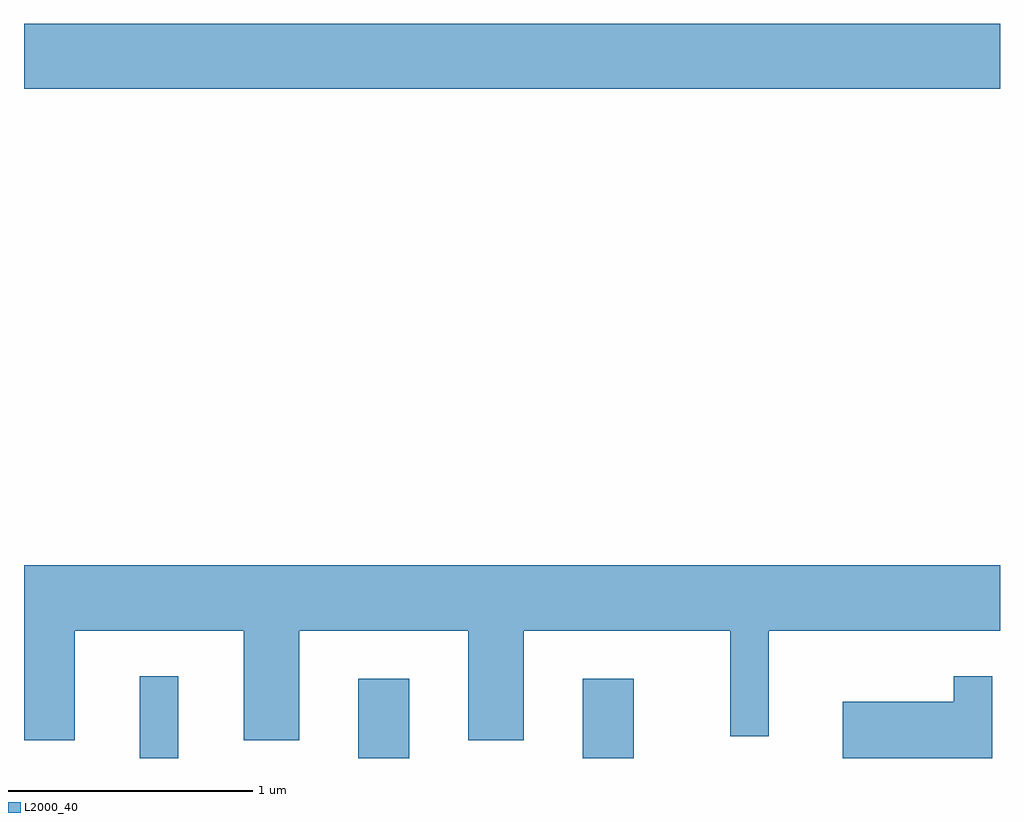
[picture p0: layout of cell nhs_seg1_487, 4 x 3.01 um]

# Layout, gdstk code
import gdstk
lib = gdstk.Library(unit=1e-6, precision=1e-09)
def R(c, l, rs):  # rectangles x0, y0, x1, y1
    for r in rs: c.add(gdstk.rectangle(r[:2], r[2:], *l))
def P(c, l, *ps):  # polygons
    for p in ps: c.add(gdstk.Polygon(p, *l))
L2000_40 = (2000, 40)

nhs_seg1_487 = lib.new_cell('nhs_seg1_487')
R(nhs_seg1_487, L2000_40, [(200.086,905.712,200.244,906.048), (200.981,905.712,201.189,906.039), (201.901,905.712,202.109,906.039), (199.611,908.456,203.611,908.724)])
P(nhs_seg1_487, L2000_40, [(199.819,906.236),(200.511,906.236),(200.511,905.786),(200.739,905.786),(200.739,906.236),(201.431,906.236),(201.431,905.786),(201.659,905.786),(201.659,906.236),(202.506,906.236),(202.506,905.803),(202.664,905.803),(202.664,906.236),(203.611,906.236),(203.611,906.504),(199.611,906.504),(199.611,905.786),(199.819,905.786)],
  [(203.579,906.048),(203.421,906.048),(203.421,905.944),(202.966,905.944),(202.966,905.712),(203.579,905.712)])

lib.write_gds('nhs_seg1_487.gds')
